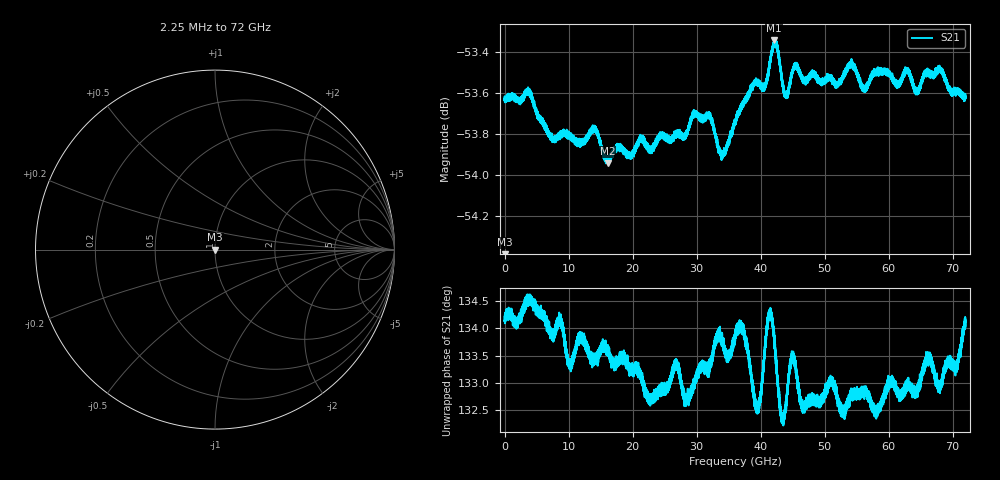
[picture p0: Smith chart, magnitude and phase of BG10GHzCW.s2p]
!Keysight Technologies,N5227A,US51270384,A.10.49.03
!Date: Monday, September 17, 2018 15:21:34
!Correction: S11(Off)
!S21(Off)
!S12(Off)
!S22(Off)
!S2P File: Measurements: S11, S21, S12, S22:CW Time Sweep
!CW Freq: 10000000000 Hz
# s S  RI  R 50
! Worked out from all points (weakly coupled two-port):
!   32000 points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, 2.25 MHz to 72 GHz, reference 50 ohm
!   highest |S21| = -53.35 dB at 42.1 GHz (marker M1); lowest = -53.9 dB at 16.11 GHz (marker M2)
!   lowest |S11| = - dB at 2.25 MHz (marker M3), VSWR 1.00, Z = 50 + j7.07e-09 ohm
!   |S11| at or under -10 dB: start of sweep to end of sweep
!   S12 and S22 are empty: the file has one direction only
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0.00225  7.07e-11 7.07e-11  -0.00145 0.00149  7.07e-11 7.07e-11  7.07e-11 7.07e-11
3.71475  7.07e-11 7.07e-11  -0.00146 0.00149  7.07e-11 7.07e-11  7.07e-11 7.07e-11
7.398  7.07e-11 7.07e-11  -0.00141 0.00147  7.07e-11 7.07e-11  7.07e-11 7.07e-11
12.00375  7.07e-11 7.07e-11  -0.00141 0.00147  7.07e-11 7.07e-11  7.07e-11 7.07e-11
14.112  7.07e-11 7.07e-11  -0.00141 0.00149  7.07e-11 7.07e-11  7.07e-11 7.07e-11
16.10775  7.07e-11 7.07e-11  -0.00138 0.00146  7.07e-11 7.07e-11  7.07e-11 7.07e-11
24.003  7.07e-11 7.07e-11  -0.00138 0.0015  7.07e-11 7.07e-11  7.07e-11 7.07e-11
31.83525  7.07e-11 7.07e-11  -0.00141 0.0015  7.07e-11 7.07e-11  7.07e-11 7.07e-11
34.10325  7.07e-11 7.07e-11  -0.0014 0.00146  7.07e-11 7.07e-11  7.07e-11 7.07e-11
36.00225  7.07e-11 7.07e-11  -0.00142 0.00149  7.07e-11 7.07e-11  7.07e-11 7.07e-11
38.95875  7.07e-11 7.07e-11  -0.00143 0.00154  7.07e-11 7.07e-11  7.07e-11 7.07e-11
40.6575  7.07e-11 7.07e-11  -0.00144 0.00152  7.07e-11 7.07e-11  7.07e-11 7.07e-11
42.09525  7.07e-11 7.07e-11  -0.00149 0.00155  7.07e-11 7.07e-11  7.07e-11 7.07e-11
43.9155  7.07e-11 7.07e-11  -0.00141 0.00154  7.07e-11 7.07e-11  7.07e-11 7.07e-11
45.38925  7.07e-11 7.07e-11  -0.00145 0.00154  7.07e-11 7.07e-11  7.07e-11 7.07e-11
48.0015  7.07e-11 7.07e-11  -0.00143 0.00155  7.07e-11 7.07e-11  7.07e-11 7.07e-11
54.2115  7.07e-11 7.07e-11  -0.00144 0.00156  7.07e-11 7.07e-11  7.07e-11 7.07e-11
56.2095  7.07e-11 7.07e-11  -0.00142 0.00154  7.07e-11 7.07e-11  7.07e-11 7.07e-11
60.00075  7.07e-11 7.07e-11  -0.00144 0.00155  7.07e-11 7.07e-11  7.07e-11 7.07e-11
64.413  7.07e-11 7.07e-11  -0.00142 0.00153  7.07e-11 7.07e-11  7.07e-11 7.07e-11
68.06025  7.07e-11 7.07e-11  -0.00144 0.00155  7.07e-11 7.07e-11  7.07e-11 7.07e-11
72  7.07e-11 7.07e-11  -0.00145 0.0015  7.07e-11 7.07e-11  7.07e-11 7.07e-11
